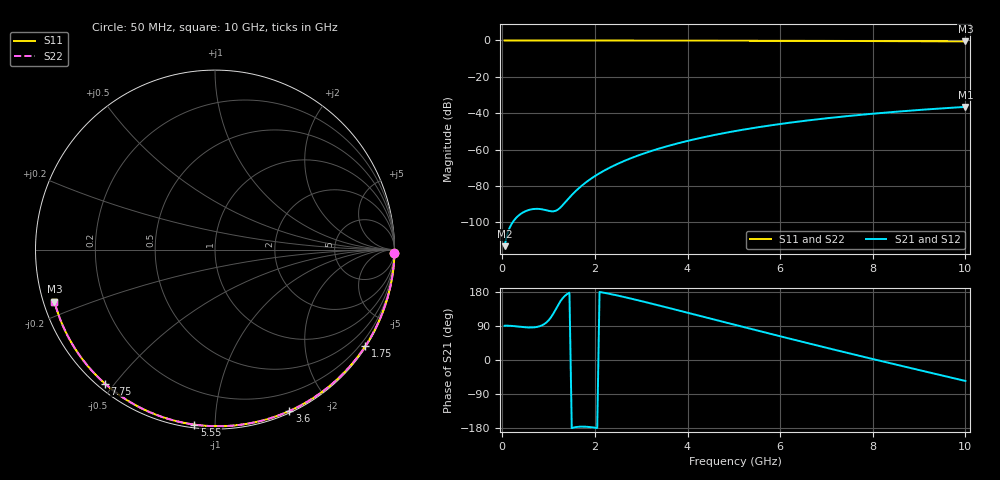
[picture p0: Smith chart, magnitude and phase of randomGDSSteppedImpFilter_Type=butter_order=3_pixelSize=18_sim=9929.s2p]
! freq	dB(S11)	phase(S11)	dB(S12)	phase(S12)
!  dB(S21)	phase(S21)	dB(S22)	phase(S22)
!S-par simulation data
#  GHz  S  DB  R 50
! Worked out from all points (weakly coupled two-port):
!   200 points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, 50 MHz to 10 GHz, reference 50 ohm
!   highest |S21| = -36.52 dB at 10 GHz (marker M1); lowest = -113.1 dB at 50 MHz (marker M2)
!   lowest |S11| = -0.5 dB at 10 GHz (marker M3), VSWR 32.54, Z = 1.58 - j7.91 ohm
!   |S11| at or under -10 dB: nowhere
!   |S22| runs from -0.5 to 0.0 dB; largest |S21 - S12| = 0
!   S11 on the Smith chart (normalised r, x): 50 MHz: open; 1.75 GHz: 0.03, -3.41; 3.6 GHz: 0.02, -1.56; 5.55 GHz: 0.02, -0.89; 7.75 GHz: 0.02, -0.47; 10 GHz: 0.03, -0.16
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0.05  -0.00 -1.0  -113.08 90.4  -113.08 90.4  -0.00 -1.0
0.45  -0.01 -8.5  -94.50 86.6  -94.50 86.6  -0.01 -8.5
0.85  -0.02 -16.0  -92.78 91.1  -92.78 91.1  -0.02 -16.0
1.25  -0.03 -23.5  -91.95 154.1  -91.95 154.1  -0.03 -23.5
1.7  -0.04 -31.8  -80.16 -175.9  -80.16 -175.9  -0.04 -31.8
1.75  -0.04 -32.7  -79.11 -175.9  -79.11 -175.9  -0.04 -32.7
1.9  -0.05 -35.4  -76.25 -177.1  -76.25 -177.1  -0.05 -35.4
2.05  -0.05 -38.1  -73.76 -179.5  -73.76 -179.5  -0.05 -38.1
2.25  -0.05 -41.7  -70.85 176.2  -70.85 176.2  -0.05 -41.7
2.45  -0.06 -45.3  -68.31 171.2  -68.31 171.2  -0.06 -45.3
2.9  -0.07 -53.2  -63.54 158.5  -63.54 158.5  -0.07 -53.2
3.4  -0.08 -61.8  -59.31 143.4  -59.31 143.4  -0.08 -61.8
3.6  -0.09 -65.2  -57.85 137.2  -57.85 137.2  -0.09 -65.2
4.3  -0.11 -76.8  -53.46 115.4  -53.46 115.4  -0.11 -76.9
5.05  -0.14 -88.9  -49.70 92.0  -49.70 92.0  -0.14 -88.9
5.55  -0.16 -96.7  -47.60 76.5  -47.60 76.5  -0.16 -96.7
6.1  -0.19 -105.1  -45.58 59.6  -45.58 59.6  -0.19 -105.1
6.7  -0.22 -114.0  -43.65 41.3  -43.65 41.3  -0.22 -114.0
7.75  -0.30 -129.4  -40.85 9.9  -40.85 9.9  -0.30 -129.4
8.35  -0.35 -138.0  -39.50 -7.7  -39.50 -7.7  -0.35 -138.0
9.2  -0.44 -150.3  -37.84 -32.3  -37.84 -32.3  -0.44 -150.3
10  -0.53 -162.0  -36.52 -55.3  -36.52 -55.3  -0.53 -162.0
